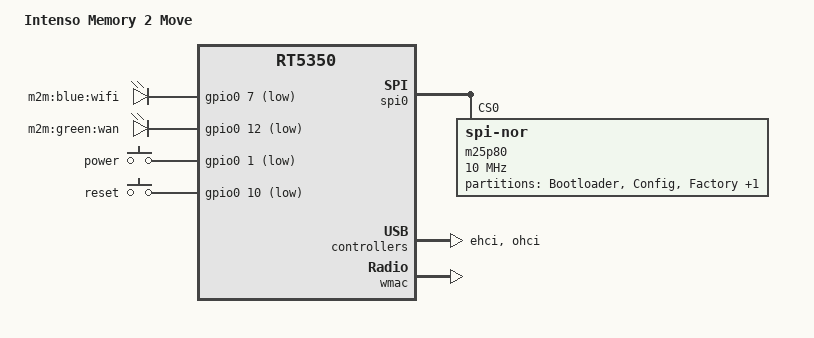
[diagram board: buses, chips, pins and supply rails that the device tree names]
/dts-v1/;

#include "rt5350.dtsi"

/ {
	compatible = "M2M", "ralink,rt5350-soc";
	model = "Intenso Memory 2 Move";

	chosen {
		bootargs = "console=ttyS0,57600n8 root=/dev/mtdblock5";
	};

	gpio-leds {
		compatible = "gpio-leds";

		wifi {
			label = "m2m:blue:wifi";
			gpios = <&gpio0 7 1>;
		};

		wan {
			label = "m2m:green:wan";
			gpios = <&gpio0 12 1>;
		};
	};

	gpio-keys-polled {
		compatible = "gpio-keys-polled";
		#address-cells = <1>;
		#size-cells = <0>;
		poll-interval = <20>;

		power {
			label = "power";
			gpios = <&gpio0 1 1>;
			linux,code = <0x116>;
		};

		reset {
			label = "reset";
			gpios = <&gpio0 10 1>;
			linux,code = <0x198>;
		};
	};
};

&spi0 {
	status = "okay";

	m25p80@0 {
		#address-cells = <1>;
		#size-cells = <1>;
		compatible = "jedec,spi-nor";
		reg = <0>;
		linux,modalias = "m25p80", "mx25l6405d";
		spi-max-frequency = <10000000>;

		partition@0 {
			label = "Bootloader";
			reg = <0x0 0x30000>;
			read-only;
		};

		partition@30000 {
			label = "Config";
			reg = <0x30000 0x10000>;
			read-only;
		};

		factory: partition@40000 {
			label = "Factory";
			reg = <0x40000 0x10000>;
			read-only;
		};

		partition@50000 {
			label = "firmware";
			reg = <0x50000 0x7b0000>;
		};
	};
};

&pinctrl {
	state_default: pinctrl0 {
		gpio {
			ralink,group = "i2c", "uartf";
			ralink,function = "gpio";
		};
	};
};

&ethernet {
	mtd-mac-address = <&factory 0x28>;
};

&esw {
	mediatek,portmap = <0x2f>;
};

&ehci {
	status = "okay";
};

&ohci {
	status = "okay";
};

&wmac {
	ralink,mtd-eeprom = <&factory 0x0>;
};
